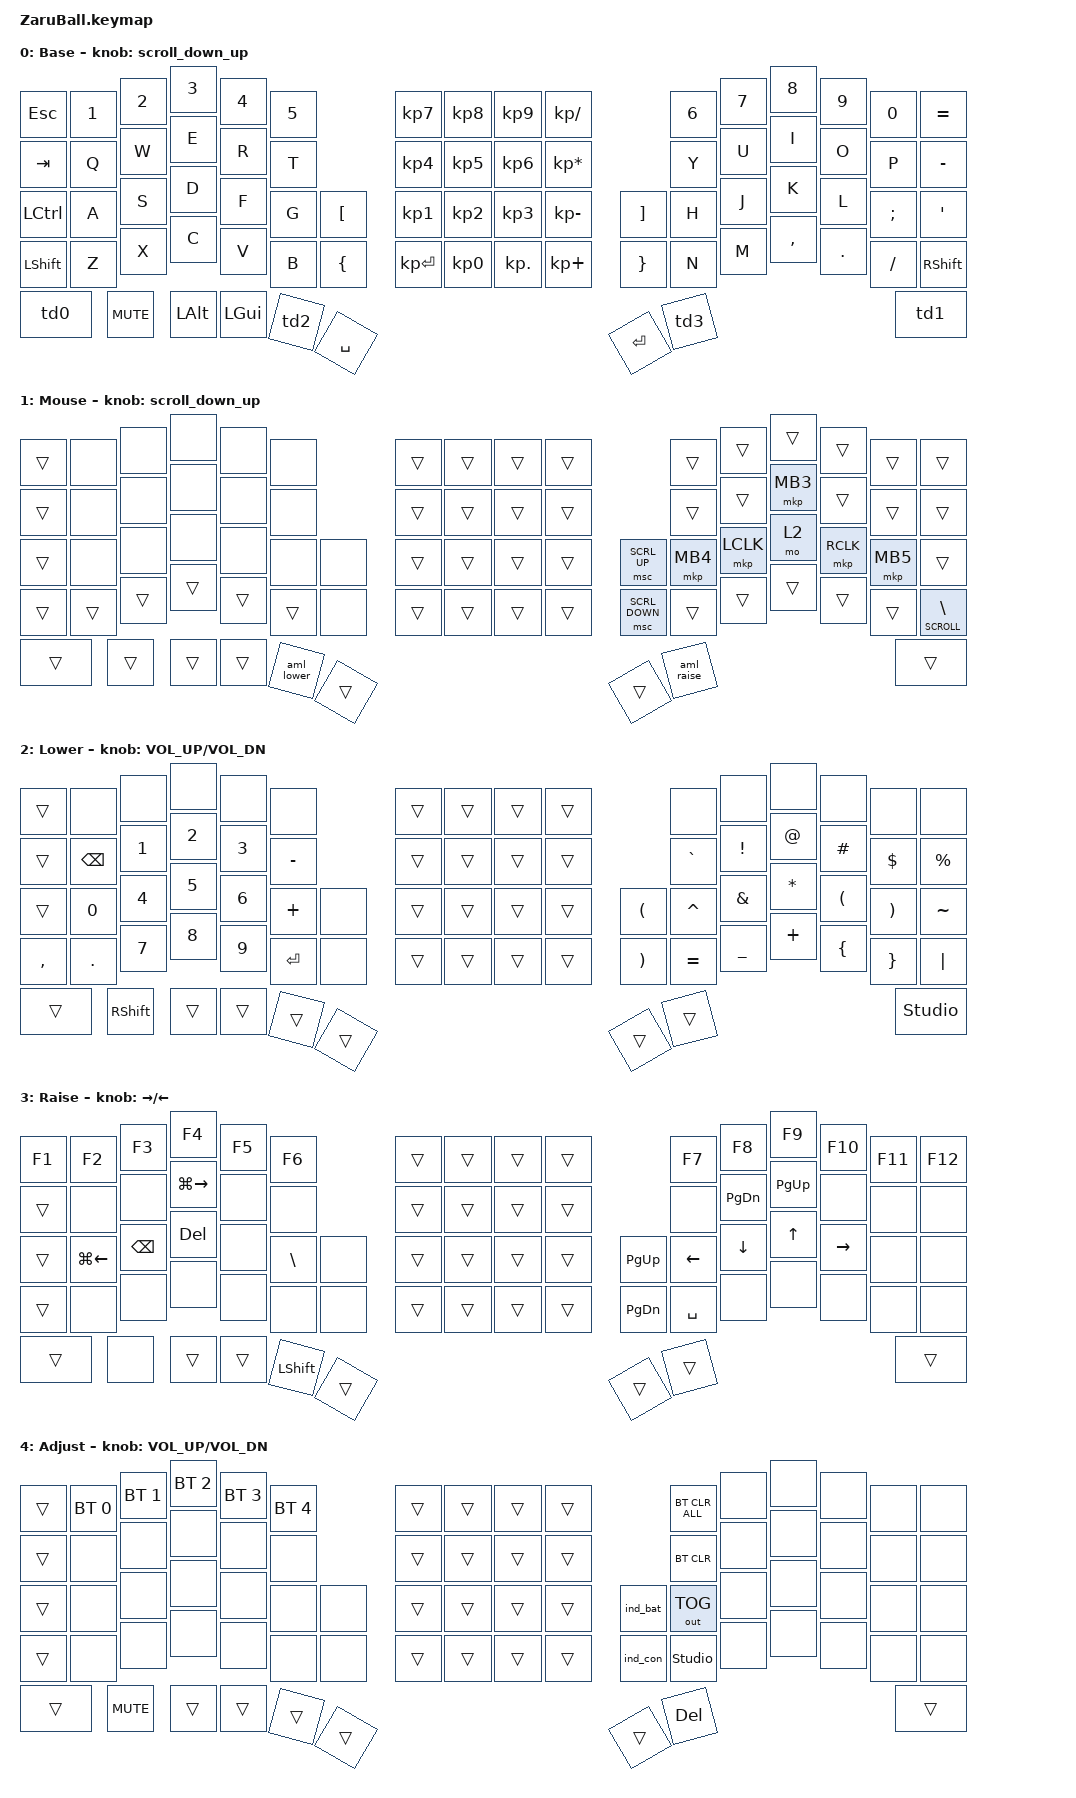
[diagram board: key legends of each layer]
//#include <dt-bindings/zmk/mouse.h>

#include <behaviors/rgbled_widget.dtsi>
#include <input/processors.dtsi>
#include <dt-bindings/zmk/input_transform.h>
#include <behaviors.dtsi>
#include <dt-bindings/zmk/bt.h>
#include <dt-bindings/zmk/keys.h>
#include <dt-bindings/zmk/outputs.h>
#include <dt-bindings/zmk/pointing.h>

#define BASE     0
#define MOUSE    1
#define LOWER    2
#define RAISE    3
#define ADJUST   4
#define SCROLL   2

// スクロール量の設定

#define ZMK_POINTING_DEFAULT_SCRL_VAL 100

&zip_temp_layer { require-prior-idle-ms = <200>; };

&trackball_listener {
    input-processors = <
                         &zip_xy_transform (INPUT_TRANSFORM_XY_SWAP | INPUT_TRANSFORM_Y_INVERT | INPUT_TRANSFORM_X_INVERT)
                         &zip_temp_layer MOUSE 5000
    >;

    scroller {
        layers = <SCROLL>;
        input-processors = <
                            &zip_xy_transform (INPUT_TRANSFORM_XY_SWAP | INPUT_TRANSFORM_Y_INVERT)
                            &zip_x_scaler 1 80
                            &zip_y_scaler 1 120
                            &zip_xy_to_scroll_mapper
        >;
    };
};

/ {
    conditional_layers {
        compatible = "zmk,conditional-layers";

        tri_layer {
            if-layers = <2 3>;
            then-layer = <4>;
        };
    };
};

/ {
    behaviors {
        // スクロール用のbehaviorの設定

        scroll_down_up: behavior_sensor_rotate_mouse_wheel_down_up {
            compatible = "zmk,behavior-sensor-rotate";
            #sensor-binding-cells = <0>;
            bindings = <&msc SCRL_DOWN>, <&msc SCRL_UP>;

            tap-ms = <20>; // スクロールのタップ時間
        };

        td0: tap_dance_0 {
            compatible = "zmk,behavior-tap-dance";
            #binding-cells = <0>;
            tapping-term-ms = <200>;
            bindings = <&mt LALT LANG2>, <&mo RAISE>, <&mo MOUSE>;
        };

        td1: tap_dance_1 {
            compatible = "zmk,behavior-tap-dance";
            #binding-cells = <0>;
            tapping-term-ms = <200>;
            bindings = <&mt RCTL LANG1>, <&mo RAISE>, <&mo MOUSE>;
        };

        // Customed Hold-Tap for SandS

        SandS: SandS {
            compatible = "zmk,behavior-hold-tap";
            #binding-cells = <2>;
            flavor = "tap-unless-interrupted";
            tapping-term-ms = <500>;
            quick-tap-ms = <500>;
            bindings = <&kp>, <&kp>;

            display-name = "SandS";
        };

        ht_layer_0: ht_layer_0 {
            compatible = "zmk,behavior-hold-tap";
            label = "HT_LAYER_0";
            bindings = <&mo>, <&kp>;

            #binding-cells = <2>;
            tapping-term-ms = <100>;
        };

        ht_kp_0: ht_kp_0 {
            compatible = "zmk,behavior-hold-tap";
            label = "HT_KP_0";
            bindings = <&kp>, <&kp>;

            #binding-cells = <2>;
            tapping-term-ms = <100>;
        };

        td_entor_shift: td_entor_shift {
            compatible = "zmk,behavior-tap-dance";
            label = "TD_ENTOR_SHIFT";
            #binding-cells = <0>;
            bindings = <&kp ENTER>, <&kp RIGHT_SHIFT>;

            tapping-term-ms = <150>;
        };

        td2: td2 {
            compatible = "zmk,behavior-tap-dance";
            label = "TD2";
            #binding-cells = <0>;
            bindings = <&mo 2>, <&kp LANG2>;

            tapping-term-ms = <200>;
        };

        td3: td3 {
            compatible = "zmk,behavior-tap-dance";
            label = "TD3";
            #binding-cells = <0>;
            bindings = <&mo 3>, <&kp LANG1>;

            tapping-term-ms = <200>;
        };
    };
};

&sl { release-after-ms = <250>; }; // time needed for double click (for mkp_exit_AML)
/ {
    macros {
        // When in AML, move to default layer when key (except mouse button) pressed

        to_layer_0: to_layer_0 {
            compatible = "zmk,behavior-macro-one-param";
            #binding-cells = <1>;
            bindings = <&tog MOUSE &macro_param_1to1 &kp MACRO_PLACEHOLDER>;
            label = "TO_layer_0";
        };

        // When LCLK pressed, exit AML (after 250ms cause by sticky layer

        mkp_exit_AML: mkp_exit_AML {
            compatible = "zmk,behavior-macro-one-param";
            #binding-cells = <1>;
            bindings =
                <&macro_press>,
                <&macro_param_1to1 &mkp MACRO_PLACEHOLDER>,
                <&macro_pause_for_release>,
                <&macro_release>,
                <&macro_param_1to1 &mkp MACRO_PLACEHOLDER>,
                <&macro_tap>,
                <&sl MOUSE>;

            label = "MKP_EXIT_AML";
        };

        aml_raise: aml_rise {
            compatible = "zmk,behavior-macro";
            #binding-cells = <0>;
            bindings =
                <&to 0>,
                <&macro_press>,
                <&mo 3>,
                <&macro_pause_for_release>,
                <&macro_release>,
                <&mo 3>;

            label = "AML_RISE";
        };

        aml_lower: aml_lower {
            compatible = "zmk,behavior-macro";
            #binding-cells = <0>;
            bindings =
                <&to 0>,
                <&macro_press>,
                <&mo 2>,
                <&macro_pause_for_release>,
                <&macro_release>,
                <&mo 2>;

            label = "AML_LOWER";
        };
    };
};

/ {
    keymap {
        compatible = "zmk,keymap";

        base_layer {
            display-name = "Base";
            sensor-bindings = <&scroll_down_up>;
            bindings = <
&kp ESC           &kp N1      &kp N2  &kp N3        &kp N4        &kp N5                      &kp KP_N7     &kp KP_N8  &kp KP_N9   &kp KP_DIVIDE                         &kp NUMBER_6  &kp N7  &kp N8     &kp N9   &kp N0    &kp EQUAL
&kp TAB           &kp Q       &kp W   &kp E         &kp R         &kp T                       &kp KP_N4     &kp KP_N5  &kp KP_N6   &kp KP_MULTIPLY                       &kp Y         &kp U   &kp I      &kp O    &kp P     &kp MINUS
&kp LEFT_CONTROL  &kp A       &kp S   &kp D         &kp F         &kp G   &kp LEFT_BRACKET    &kp KP_N1     &kp KP_N2  &kp KP_N3   &kp KP_MINUS       &kp RIGHT_BRACKET  &kp H         &kp J   &kp K      &kp L    &kp SEMI  &kp SQT
&kp LSHFT         &kp Z       &kp X   &kp C         &kp V         &kp B   &kp LEFT_BRACE      &kp KP_ENTER  &kp KP_N0  &kp KP_DOT  &kp KP_PLUS        &kp RIGHT_BRACE    &kp N         &kp M   &kp COMMA  &kp DOT  &kp FSLH  &kp RIGHT_SHIFT
&td0              &kp C_MUTE          &kp LEFT_ALT  &kp LEFT_GUI  &td2    &kp SPACE                                                                   &kp ENTER          &td3                                                &td1
            >;
        };

        mouse_layer {
            display-name = "Mouse";
            sensor-bindings = <&scroll_down_up>;
            bindings = <
&trans  &none   &none   &none   &none   &none                 &trans  &trans  &trans  &trans                    &trans      &trans     &trans    &trans     &trans    &trans
&trans  &none   &none   &none   &none   &none                 &trans  &trans  &trans  &trans                    &trans      &trans     &mkp MB3  &trans     &trans    &trans
&trans  &none   &none   &none   &none   &none       &none     &trans  &trans  &trans  &trans    &msc SCRL_UP    &mkp MB4    &mkp LCLK  &mo 2     &mkp RCLK  &mkp MB5  &trans
&trans  &trans  &trans  &trans  &trans  &trans      &none     &trans  &trans  &trans  &trans    &msc SCRL_DOWN  &trans      &trans     &trans    &trans     &trans    &lt SCROLL BACKSLASH
&trans  &trans          &trans  &trans  &aml_lower  &trans                                      &trans          &aml_raise                                            &trans
            >;
        };

        lower_layer {
            display-name = "Lower";
            sensor-bindings = <&inc_dec_kp C_VOL_UP C_VOL_DN>;
            bindings = <
&trans     &none          &none         &none         &none         &none                &trans  &trans  &trans  &trans              &none      &none            &none         &none                 &none                  &none
&trans     &kp BACKSPACE  &kp NUMBER_1  &kp NUMBER_2  &kp NUMBER_3  &kp MINUS            &trans  &trans  &trans  &trans              &kp GRAVE  &kp EXCLAMATION  &kp AT_SIGN   &kp POUND             &kp DOLLAR             &kp PERCENT
&trans     &kp NUMBER_0   &kp NUMBER_4  &kp NUMBER_5  &kp NUMBER_6  &kp PLUS   &none     &trans  &trans  &trans  &trans    &kp LPAR  &kp CARET  &kp AMPERSAND    &kp ASTERISK  &kp LEFT_PARENTHESIS  &kp RIGHT_PARENTHESIS  &kp TILDE
&kp COMMA  &kp PERIOD     &kp NUMBER_7  &kp NUMBER_8  &kp NUMBER_9  &kp ENTER  &none     &trans  &trans  &trans  &trans    &kp RPAR  &kp EQUAL  &kp UNDERSCORE   &kp PLUS      &kp LEFT_BRACE        &kp RIGHT_BRACE        &kp PIPE
&trans     &kp RSHFT                    &trans        &trans        &trans     &trans                                      &trans    &trans                                                                                 &studio_unlock
            >;
        };

        raise_layer {
            display-name = "Raise";
            sensor-bindings = <&inc_dec_kp RIGHT LEFT>;
            bindings = <
&kp F1  &kp F2        &kp F3         &kp F4         &kp F5  &kp F6                    &trans  &trans  &trans  &trans               &kp F7     &kp F8         &kp F9       &kp F10    &kp F11  &kp F12
&trans  &none         &none          &kp LG(RIGHT)  &none   &none                     &trans  &trans  &trans  &trans               &none      &kp PAGE_DOWN  &kp PAGE_UP  &none      &none    &none
&trans  &kp LG(LEFT)  &kp BACKSPACE  &kp DELETE     &none   &kp BACKSLASH   &none     &trans  &trans  &trans  &trans    &kp PG_UP  &kp LEFT   &kp DOWN       &kp UP       &kp RIGHT  &none    &none
&trans  &none         &none          &none          &none   &none           &none     &trans  &trans  &trans  &trans    &kp PG_DN  &kp SPACE  &none          &none        &none      &none    &none
&trans  &none                        &trans         &trans  &kp LEFT_SHIFT  &trans                                      &trans     &trans                                                     &trans
            >;
        };

        adjust_layer {
            display-name = "Adjust";
            sensor-bindings = <&inc_dec_kp C_VOL_UP C_VOL_DN>;
            bindings = <
&trans  &bt BT_SEL 0  &bt BT_SEL 1  &bt BT_SEL 2  &bt BT_SEL 3  &bt BT_SEL 4            &trans  &trans  &trans  &trans              &bt BT_CLR_ALL  &none  &none  &none  &none  &none
&trans  &none         &none         &none         &none         &none                   &trans  &trans  &trans  &trans              &bt BT_CLR      &none  &none  &none  &none  &none
&trans  &none         &none         &none         &none         &none         &none     &trans  &trans  &trans  &trans    &ind_bat  &out OUT_TOG    &none  &none  &none  &none  &none
&trans  &none         &none         &none         &none         &none         &none     &trans  &trans  &trans  &trans    &ind_con  &studio_unlock  &none  &none  &none  &none  &none
&trans  &kp C_MUTE                  &trans        &trans        &trans        &trans                                      &trans    &kp DEL                                     &trans
            >;
        };

        // Extra layer can be added in ZMK STUDIO

        extra1 { status = "reserved"; };

        extra2 { status = "reserved"; };
    };
};
